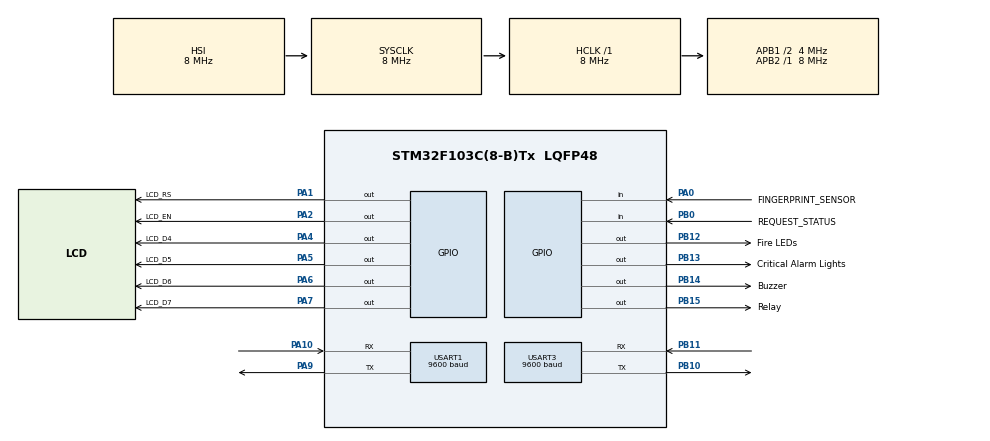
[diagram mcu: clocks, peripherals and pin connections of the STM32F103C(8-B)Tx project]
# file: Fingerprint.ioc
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Mcu.Family=STM32F1
Mcu.Name=STM32F103C(8-B)Tx
Mcu.Package=LQFP48
NVIC.PriorityGroup=NVIC_PRIORITYGROUP_4
NVIC.USART1_IRQn=true\:0\:0\:false\:false\:true\:true\:true\:true
NVIC.USART3_IRQn=true\:0\:0\:false\:false\:true\:true\:true\:true
PA0-WKUP.GPIO_Label=FINGERPRINT_SENSOR
PA0-WKUP.Signal=GPIO_Input
PA1.GPIO_Label=LCD_RS
PA1.Signal=GPIO_Output
PA10.Mode=Asynchronous
PA10.Signal=USART1_RX
PA13.Mode=Serial_Wire
PA13.Signal=SYS_JTMS-SWDIO
PA14.Mode=Serial_Wire
PA14.Signal=SYS_JTCK-SWCLK
PA2.GPIO_Label=LCD_EN
PA2.Signal=GPIO_Output
PA4.GPIO_Label=LCD_D4
PA4.Signal=GPIO_Output
PA5.GPIO_Label=LCD_D5
PA5.Signal=GPIO_Output
PA6.GPIO_Label=LCD_D6
PA6.Signal=GPIO_Output
PA7.GPIO_Label=LCD_D7
PA7.Signal=GPIO_Output
PA9.Mode=Asynchronous
PA9.Signal=USART1_TX
PB0.GPIO_Label=REQUEST_STATUS
PB0.Signal=GPIO_Input
PB10.Mode=Asynchronous
PB10.Signal=USART3_TX
PB11.Mode=Asynchronous
PB11.Signal=USART3_RX
PB12.GPIO_Label=Fire LEDs
PB12.Signal=GPIO_Output
PB13.GPIO_Label=Critical Alarm Lights
PB13.Signal=GPIO_Output
PB14.GPIO_Label=Buzzer
PB14.Signal=GPIO_Output
PB15.GPIO_Label=Relay
PB15.Signal=GPIO_Output
ProjectManager.HeapSize=0x200
ProjectManager.StackSize=0x400
ProjectManager.TargetToolchain=MDK-ARM V5.32
RCC.AHBFreq_Value=8000000
RCC.APB1CLKDivider=RCC_HCLK_DIV2
RCC.APB1Freq_Value=4000000
RCC.APB1TimFreq_Value=8000000
RCC.APB2Freq_Value=8000000
RCC.APB2TimFreq_Value=8000000
RCC.HCLKFreq_Value=8000000
RCC.PLLMUL=RCC_PLL_MUL9
RCC.SYSCLKFreq_VALUE=8000000
RCC.USBFreq_Value=36000000
USART1.BaudRate=9600
USART1.VirtualMode=VM_ASYNC
USART3.BaudRate=9600
USART3.VirtualMode=VM_ASYNC
board=custom

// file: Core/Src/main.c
/* USER CODE BEGIN Header */
/**
  ******************************************************************************
  * @file           : main.c
  * @brief          : Main program body
  ******************************************************************************
  */
/* USER CODE END Header */
#include "main.h"

/* USER CODE BEGIN Includes */
#include <stdio.h>
#include <string.h>
#include <stdlib.h>
/* USER CODE END Includes */

/* USER CODE BEGIN PTD */
typedef enum {
    STATE_MAIN_MENU,
    STATE_WAIT_MAIN_CHOICE,

    STATE_WORKER_LOGIN,
    STATE_WAIT_WORKER_ID,
    STATE_WAIT_SERVER_AUTH,
    STATE_WAIT_WORKER_MENU_ACTION,

    STATE_MANAGER_USER_PROMPT,
    STATE_MANAGER_WAIT_USER,
    STATE_MANAGER_PASS_PROMPT,
    STATE_MANAGER_WAIT_PASS,
    STATE_WAIT_MANAGER_MENU_ACTION,
    STATE_MANAGER_WAIT_ABSENCE_ID,
    STATE_MANAGER_WAIT_FORCE_OUT_ID,

    STATE_WAIT_EMERGENCY_CHOICE,
    STATE_WAIT_MEDICAL_CHOICE,
    STATE_WORKER_WAIT_LETTER_TEXT,
    STATE_MANAGER_WAIT_REPORT_TEXT,
    STATE_MANAGER_WAIT_DEMAND_TEXT,
		STATE_MANAGER_WAIT_INFO_ID,
} SystemState;

SystemState currentState = STATE_MAIN_MENU;

// (UART1)
char term_rx_buffer[100];
uint8_t term_rx_index = 0;
uint8_t term_rx_data;
volatile uint8_t term_input_ready = 0;

// (UART3)
char srv_rx_buffer[100];
uint8_t srv_rx_index = 0;
uint8_t srv_rx_data;
volatile uint8_t srv_input_ready = 0;

const char admin_user[] = "admin";
const char admin_pass[] = "1234";
char entered_user[20];
char entered_pass[20];
char entered_name[30];

void trim_string(char *str) {
    int len = strlen(str);
    while (len > 0 && (str[len-1] == '\r' || str[len-1] == '\n')) {
        str[len-1] = '\0';
        len--;
    }
}
/* USER CODE END PTD */

UART_HandleTypeDef huart1;
UART_HandleTypeDef huart3;

void SystemClock_Config(void);
static void MX_GPIO_Init(void);
static void MX_USART1_UART_Init(void);
static void MX_USART3_UART_Init(void);

/* USER CODE BEGIN 0 */
void LCD_Send4Bit(uint8_t data) {
    HAL_GPIO_WritePin(LCD_D4_GPIO_Port, LCD_D4_Pin, (data & 0x01) ? GPIO_PIN_SET : GPIO_PIN_RESET);
    HAL_GPIO_WritePin(LCD_D5_GPIO_Port, LCD_D5_Pin, (data & 0x02) ? GPIO_PIN_SET : GPIO_PIN_RESET);
    HAL_GPIO_WritePin(LCD_D6_GPIO_Port, LCD_D6_Pin, (data & 0x04) ? GPIO_PIN_SET : GPIO_PIN_RESET);
    HAL_GPIO_WritePin(LCD_D7_GPIO_Port, LCD_D7_Pin, (data & 0x08) ? GPIO_PIN_SET : GPIO_PIN_RESET);
}

void LCD_Enable(void) {
    HAL_GPIO_WritePin(LCD_EN_GPIO_Port, LCD_EN_Pin, GPIO_PIN_SET);
    HAL_Delay(1);
    HAL_GPIO_WritePin(LCD_EN_GPIO_Port, LCD_EN_Pin, GPIO_PIN_RESET);
    HAL_Delay(1);
}

void LCD_Cmd(uint8_t cmd) {
    HAL_GPIO_WritePin(LCD_RS_GPIO_Port, LCD_RS_Pin, GPIO_PIN_RESET);
    LCD_Send4Bit(cmd >> 4);
    LCD_Enable();
    LCD_Send4Bit(cmd & 0x0F);
    LCD_Enable();
}

void LCD_Data(uint8_t data) {
    HAL_GPIO_WritePin(LCD_RS_GPIO_Port, LCD_RS_Pin, GPIO_PIN_SET);
    LCD_Send4Bit(data >> 4);
    LCD_Enable();
    LCD_Send4Bit(data & 0x0F);
    LCD_Enable();
}

void LCD_Init(void) {
    HAL_Delay(50);
    LCD_Cmd(0x33);
    LCD_Cmd(0x32);
    LCD_Cmd(0x28);
    LCD_Cmd(0x0C);
    LCD_Cmd(0x01);
    HAL_Delay(2);
}

void LCD_String(char* str) {
    while (*str) {
        LCD_Data(*str++);
    }
}

void LCD_SetCursor(uint8_t row, uint8_t col) {
    uint8_t pos = (row == 0) ? 0x80 : 0xC0;
    LCD_Cmd(pos + col);
}
/* USER CODE END 0 */

int main(void)
{

  /* MCU Configuration--------------------------------------------------------*/

  /* Reset of all peripherals, Initializes the Flash interface and the Systick. */
  HAL_Init();

  /* Configure the system clock */
  SystemClock_Config();

  /* Initialize all configured peripherals */
  MX_GPIO_Init();
  MX_USART1_UART_Init();
  MX_USART3_UART_Init();
  /* USER CODE BEGIN 2 */
  HAL_UART_Receive_IT(&huart1, &term_rx_data, 1);
  HAL_UART_Receive_IT(&huart3, &srv_rx_data, 1);

  HAL_GPIO_WritePin(GPIOB, GPIO_PIN_15, GPIO_PIN_SET);
  LCD_Init();
  LCD_SetCursor(0, 0);
  LCD_String("  SMART FACTORY  ");
  LCD_SetCursor(1, 0);
  LCD_String(" STATUS: NORMAL  ");
  /* USER CODE END 2 */

  /* Infinite loop */
  while (1)
  {

    /* USER CODE BEGIN 3 */

    if (srv_input_ready) {
            srv_input_ready = 0;
            trim_string(srv_rx_buffer);

            if (srv_rx_buffer[0] == '@') {
                if (strncmp(srv_rx_buffer, "@NAME:", 6) == 0) {
                    strcpy(entered_name, srv_rx_buffer + 6);
                    printf("\r\n========================================");
                    printf("\r\n[ACCESS GRANTED] Welcome: %s", entered_name);
                    printf("\r\n========================================\r\n");
                    printf("--- WORKER MENU ---\r\n");
                    printf("1. Clock In (Check-in)\r\n2. Clock Out (Check-out)\r\n3. Request Leave (Vacation)\r\n4. Send Letter\r\n5. Logout\r\nSelect: ");

                    LCD_Cmd(0x01);
                    LCD_SetCursor(0, 0); LCD_String("Welcome Worker:");
                    LCD_SetCursor(1, 0);
                    char lcd_buf[17];
                    sprintf(lcd_buf, "%-16.16s", entered_name);
                    LCD_String(lcd_buf);
                    currentState = STATE_WAIT_WORKER_MENU_ACTION;
                }
                else if (strncmp(srv_rx_buffer, "@MSG:", 5) == 0) {
                    printf("\r\n[SERVER]: %s\r\n", srv_rx_buffer + 5);
                    if (currentState == STATE_WAIT_SERVER_AUTH) {
                        currentState = STATE_MAIN_MENU;
                    } else if (currentState == STATE_WAIT_WORKER_MENU_ACTION) {
                        printf("\r\nSelect next option (or 5 to logout): ");
                    } else if (currentState == STATE_WAIT_MANAGER_MENU_ACTION) {
                        printf("\r\nSelect next option (or 7 to logout): ");
                    }
                }
								else if (strncmp(srv_rx_buffer, "@PRT:", 5) == 0) {
                    printf("\r\n%s", srv_rx_buffer + 5);
                }
                else if (strncmp(srv_rx_buffer, "@LCD1:", 6) == 0) {
                    LCD_SetCursor(0, 0);
                    char lcd_buf[17];
                    sprintf(lcd_buf, "%-16.16s", srv_rx_buffer + 6);
                    LCD_String(lcd_buf);
                }
                else if (strncmp(srv_rx_buffer, "@LCD2:", 6) == 0) {
                    LCD_SetCursor(1, 0);
                    char lcd_buf[17];
                    sprintf(lcd_buf, "%-16.16s", srv_rx_buffer + 6);
                    LCD_String(lcd_buf);
                }
            }
            srv_rx_index = 0;
        }

        if (term_input_ready) {
            term_input_ready = 0;
            trim_string(term_rx_buffer);
            char tx_buf[50];

            switch (currentState) {
                case STATE_WAIT_MAIN_CHOICE:
                    if (term_rx_buffer[0] == '1') {
                        printf("\r\n\r\n[WORKER LOGIN] Please enter Fingerprint ID: ");
                        LCD_Cmd(0x01); LCD_SetCursor(0,0); LCD_String("Worker Login:"); LCD_SetCursor(1,0); LCD_String("Waiting for ID..");
                        currentState = STATE_WAIT_WORKER_ID;
                    } else if (term_rx_buffer[0] == '2') {
                        printf("\r\n\r\n[MANAGER LOGIN]\r\nUsername: ");
                        LCD_Cmd(0x01); LCD_SetCursor(0,0); LCD_String("Manager Login:"); LCD_SetCursor(1,0); LCD_String("Enter Username..");
                        currentState = STATE_MANAGER_WAIT_USER;
                    } else if (term_rx_buffer[0] == '3') {
                        printf("\r\n\r\n!!! EMERGENCY PROTOCOL !!!\r\n1. Fire\r\n2. Medical\r\n3. Evacuate\r\n4. Cancel\r\nSelect: ");
                        LCD_Cmd(0x01); LCD_SetCursor(0,0); LCD_String("Emergency Menu"); LCD_SetCursor(1,0); LCD_String("Select Type...");
                        currentState = STATE_WAIT_EMERGENCY_CHOICE;
                    } else {
                        printf("\r\nInvalid choice. Try again: ");
                    }
                    break;

                case STATE_WAIT_WORKER_ID:
                    strcpy(entered_user, term_rx_buffer);
                    printf("\r\n[SYSTEM] Verifying ID %s with Server...\r\n", entered_user);
                    LCD_Cmd(0x01); LCD_SetCursor(0,0); LCD_String("Authenticating..");

                    sprintf(tx_buf, "REQ_NAME:%s\r\n", entered_user);
                    HAL_UART_Transmit(&huart3, (uint8_t*)tx_buf, strlen(tx_buf), 100);

                    currentState = STATE_WAIT_SERVER_AUTH;
                    break;

                case STATE_WAIT_WORKER_MENU_ACTION:
                    if (term_rx_buffer[0] == '1') {
                        sprintf(tx_buf, "CHECKIN:%s\r\n", entered_user);
                        HAL_UART_Transmit(&huart3, (uint8_t*)tx_buf, strlen(tx_buf), 100);
                    }
                    else if (term_rx_buffer[0] == '2') {
                        sprintf(tx_buf, "CHECKOUT:%s\r\n", entered_user);
                        HAL_UART_Transmit(&huart3, (uint8_t*)tx_buf, strlen(tx_buf), 100);
                    }
                    else if (term_rx_buffer[0] == '3') {
                        if (HAL_GPIO_ReadPin(GPIOB, GPIO_PIN_0) == GPIO_PIN_SET) {
                            sprintf(tx_buf, "VACATION:%s:APPROVED\r\n", entered_user);
                            HAL_UART_Transmit(&huart3, (uint8_t*)tx_buf, strlen(tx_buf), 100);
                            printf("\r\n[RESULT] Vacation APPROVED by Manager Panel.\r\nSelect next option (or 5 to logout): ");
                        } else {
                            sprintf(tx_buf, "VACATION:%s:REJECTED\r\n", entered_user);
                            HAL_UART_Transmit(&huart3, (uint8_t*)tx_buf, strlen(tx_buf), 100);
                            printf("\r\n[RESULT] Vacation REJECTED by Manager Panel.\r\nSelect next option (or 5 to logout): ");
                        }
                    }
                    else if (term_rx_buffer[0] == '4') {
                        printf("\r\nPlease type your message/letter: ");
                        currentState = STATE_WORKER_WAIT_LETTER_TEXT;
                    }
                    else if (term_rx_buffer[0] == '5') {
                        printf("\r\n[LOGGED OUT] Returning to Main Menu...\r\n");
                        currentState = STATE_MAIN_MENU;
                    } else {
                        printf("\r\nInvalid option.\r\nSelect next option (or 5 to logout): ");
                    }
                    break;

                case STATE_MANAGER_WAIT_USER:
                    strcpy(entered_user, term_rx_buffer);
                    printf("\r\nPassword: ");
                    LCD_SetCursor(1,0); LCD_String("Enter Password..");
                    currentState = STATE_MANAGER_WAIT_PASS;
                    break;

                case STATE_MANAGER_WAIT_PASS:
                    strcpy(entered_pass, term_rx_buffer);
                    if (strcmp(entered_user, admin_user) == 0 && strcmp(entered_pass, admin_pass) == 0) {
                        printf("\r\n========================================");
                        printf("\r\n[ACCESS GRANTED] Welcome Foreman/Manager");
                        printf("\r\n========================================\r\n");
                        printf("--- MANAGER MENU ---\r\n");
                        printf("1. Stop Production Line\r\n2. Report Failure\r\n3. Send Demand/Letter\r\n4. Register Absence\r\n5. Force Worker Checkout\r\n6. View Worker Info\r\n7. Logout\r\nSelect: ");

                        LCD_Cmd(0x01); LCD_SetCursor(0,0); LCD_String("Manager Panel"); LCD_SetCursor(1,0); LCD_String("Access Granted!");
                        currentState = STATE_WAIT_MANAGER_MENU_ACTION;
                    } else {
                        printf("\r\n[ACCESS DENIED] Incorrect Username or Password.\r\n");
                        LCD_Cmd(0x01); LCD_SetCursor(0,0); LCD_String("Access Denied!");
                        currentState = STATE_MAIN_MENU;
                    }
                    break;

                case STATE_WAIT_MANAGER_MENU_ACTION:
                    if (term_rx_buffer[0] == '1') {
                        sprintf(tx_buf, "MANAGER:STOP_LINE\r\n");
                        HAL_UART_Transmit(&huart3, (uint8_t*)tx_buf, strlen(tx_buf), 100);
                        printf("\r\n[ALARM] Production Line STOPPED command sent!\r\nSelect next option (or 7 to logout): ");
                    }
                    else if (term_rx_buffer[0] == '2') {
                        printf("\r\nEnter failure details: ");
                        currentState = STATE_MANAGER_WAIT_REPORT_TEXT;
                    }
                    else if (term_rx_buffer[0] == '3') {
                        printf("\r\nEnter demand/task details: ");
                        currentState = STATE_MANAGER_WAIT_DEMAND_TEXT;
                    }
                    else if (term_rx_buffer[0] == '4') {
                        printf("\r\nEnter Worker ID to mark as Absent (e.g. 1001): ");
                        currentState = STATE_MANAGER_WAIT_ABSENCE_ID;
                    }
                    else if (term_rx_buffer[0] == '5') {
                        printf("\r\nEnter Worker ID to Force Checkout (e.g. 1001): ");
                        LCD_Cmd(0x01); LCD_SetCursor(0,0); LCD_String("Force Checkout:"); LCD_SetCursor(1,0); LCD_String("Enter ID:       ");
                        currentState = STATE_MANAGER_WAIT_FORCE_OUT_ID;
                    }
                    else if (term_rx_buffer[0] == '6') {
                        printf("\r\nEnter Worker ID to view info (e.g. 1001): ");
                        LCD_Cmd(0x01); LCD_SetCursor(0,0); LCD_String("Worker Info:"); LCD_SetCursor(1,0); LCD_String("Enter ID:       ");
                        currentState = STATE_MANAGER_WAIT_INFO_ID;
                    }
                    else if (term_rx_buffer[0] == '7') {
                        printf("\r\n[LOGGED OUT] Returning to Main Menu...\r\n");
                        currentState = STATE_MAIN_MENU;
                    }
                    else {
                        printf("\r\nInvalid option.\r\nSelect next option (or 7 to logout): ");
                    }
                    break;

                case STATE_MANAGER_WAIT_FORCE_OUT_ID:
                    sprintf(tx_buf, "FORCE_OUT:%s\r\n", term_rx_buffer);
                    HAL_UART_Transmit(&huart3, (uint8_t*)tx_buf, strlen(tx_buf), 100);
                    currentState = STATE_WAIT_MANAGER_MENU_ACTION;
                    break;

                case STATE_WORKER_WAIT_LETTER_TEXT:
                    sprintf(tx_buf, "LETTER:%s:%s\r\n", entered_user, term_rx_buffer);
                    HAL_UART_Transmit(&huart3, (uint8_t*)tx_buf, strlen(tx_buf), 100);
                    printf("\r\n[RESULT] Your letter was sent to the server.\r\nSelect next option (or 5 to logout): ");
                    currentState = STATE_WAIT_WORKER_MENU_ACTION;
                    break;

                case STATE_MANAGER_WAIT_REPORT_TEXT:
                    sprintf(tx_buf, "MANAGER:REPORT_FAIL:%s\r\n", term_rx_buffer);
                    HAL_UART_Transmit(&huart3, (uint8_t*)tx_buf, strlen(tx_buf), 100);
                    printf("\r\n[SYSTEM] Failure report sent to database.\r\nSelect next option (or 7 to logout): ");
                    currentState = STATE_WAIT_MANAGER_MENU_ACTION;
                    break;

                case STATE_MANAGER_WAIT_DEMAND_TEXT:
                    sprintf(tx_buf, "MANAGER:DEMAND:%s\r\n", term_rx_buffer);
                    HAL_UART_Transmit(&huart3, (uint8_t*)tx_buf, strlen(tx_buf), 100);
                    printf("\r\n[SYSTEM] Demand letter sent to database.\r\nSelect next option (or 7 to logout): ");
                    currentState = STATE_WAIT_MANAGER_MENU_ACTION;
                    break;

                case STATE_MANAGER_WAIT_ABSENCE_ID:
                    sprintf(tx_buf, "ABSENCE:%s\r\n", term_rx_buffer);
                    HAL_UART_Transmit(&huart3, (uint8_t*)tx_buf, strlen(tx_buf), 100);
                    printf("\r\n[SYSTEM] Absence record sent for ID: %s\r\nSelect next option (or 7 to logout): ", term_rx_buffer);
                    currentState = STATE_WAIT_MANAGER_MENU_ACTION;
                    break;

                case STATE_MANAGER_WAIT_INFO_ID:
                    sprintf(tx_buf, "MANAGER:INFO:%s\r\n", term_rx_buffer);
                    HAL_UART_Transmit(&huart3, (uint8_t*)tx_buf, strlen(tx_buf), 100);
										printf("\r\n[SYSTEM] Fetching data from server...\r\n");
                    currentState = STATE_WAIT_MANAGER_MENU_ACTION;
                    break;
								case STATE_WAIT_EMERGENCY_CHOICE:
                    if (term_rx_buffer[0] == '1') {
                        printf("\r\nEMERGENCY:FIRE\r\n");
                        printf("\r\n[ALARM] Fire Alarm triggered! Strobe Lights & Buzzer Activated.\r\n");
                        HAL_GPIO_WritePin(GPIOB, GPIO_PIN_12, GPIO_PIN_SET);
                        HAL_GPIO_WritePin(GPIOB, GPIO_PIN_14, GPIO_PIN_SET);
                        printf("\r\nReturning to Main Menu...\r\n");
                        currentState = STATE_MAIN_MENU;
                    }
                    else if (term_rx_buffer[0] == '2') {
                        printf("\r\n\r\n--- MEDICAL EMERGENCY SUBMENU ---\r\n");
                        printf("1. Machinery Accident / Injury\r\n");
                        printf("2. Chemical / Toxic Exposure\r\n");
                        printf("3. Back to Main Menu\r\n");
                        printf("Select Medical Type: ");
                        currentState = STATE_WAIT_MEDICAL_CHOICE;
                    }
                    else if (term_rx_buffer[0] == '3') {
                        printf("\r\nEMERGENCY:CRITICAL_EVACUATE\r\n");
                        printf("\r\n!!!!!!!!!!!!!!!!!!!!!!!!!!!!!!!!!!!!!!!!\r\n");
                        printf("!! CRITICAL SITUATION: EVACUATE IMMEDIATELY !!\r\n");
                        printf("!!!!!!!!!!!!!!!!!!!!!!!!!!!!!!!!!!!!!!!!\r\n");

                        HAL_GPIO_WritePin(GPIOB, GPIO_PIN_15, GPIO_PIN_RESET);
                        HAL_GPIO_WritePin(GPIOB, GPIO_PIN_13, GPIO_PIN_SET);
                        HAL_GPIO_WritePin(GPIOB, GPIO_PIN_14, GPIO_PIN_SET);

                        LCD_Cmd(0x01);
                        LCD_SetCursor(0, 0); LCD_String("!!! EMERGENCY !!!");
                        LCD_SetCursor(1, 0); LCD_String("EVACUATE FACTORY!");
                        printf("\r\nReturning to Main Menu...\r\n");
                        currentState = STATE_MAIN_MENU;
                    }
                    else if (term_rx_buffer[0] == '4') {
                        printf("\r\nReturning to Main Menu...\r\n");
                        currentState = STATE_MAIN_MENU;
                    }
                    else {
                        printf("\r\nInvalid emergency type.\r\nSelect: ");
                    }
                    break;

                case STATE_WAIT_MEDICAL_CHOICE:
                    if (term_rx_buffer[0] == '1') {
                        printf("\r\nEMERGENCY:MEDICAL_MACHINERY\r\n");
                        printf("\r\n[NOTIFICATION] First Aid Team dispatched for Machinery Accident.\r\n");
                    }
                    else if (term_rx_buffer[0] == '2') {
                        printf("\r\nEMERGENCY:MEDICAL_CHEMICAL\r\n");
                        printf("\r\n[NOTIFICATION] Chemical Exposure protocol activated. Hazmat team notified.\r\n");
                    }
                    else {
                        printf("\r\nReturning without dispatch.\r\n");
                    }
                    currentState = STATE_MAIN_MENU;
                    break;
            }
            term_rx_index = 0;
        }

        if (currentState == STATE_MAIN_MENU) {
            LCD_Cmd(0x01);
            LCD_SetCursor(0, 0); LCD_String("  SMART FACTORY  ");
            LCD_SetCursor(1, 0); LCD_String(" STATUS: NORMAL  ");

            printf("\r\n\r\n=== SMART FACTORY CENTRAL TERMINAL ===\r\n");
            printf("1. Worker Login (Fingerprint ID)\r\n");
            printf("2. Foreman/Manager Login (Credentials)\r\n");
            printf("3. EMERGENCY (SOS)\r\n");
            printf("Select an option (1, 2, or 3): ");
            currentState = STATE_WAIT_MAIN_CHOICE;
        }

        HAL_Delay(50);
	}
  /* USER CODE END 3 */
}

void SystemClock_Config(void)
{
  RCC_OscInitTypeDef RCC_OscInitStruct = {0};
  RCC_ClkInitTypeDef RCC_ClkInitStruct = {0};

  /** Initializes the RCC Oscillators according to the specified parameters
  * in the RCC_OscInitTypeDef structure.
  */
  RCC_OscInitStruct.OscillatorType = RCC_OSCILLATORTYPE_HSI;
  RCC_OscInitStruct.HSIState = RCC_HSI_ON;
  RCC_OscInitStruct.HSICalibrationValue = RCC_HSICALIBRATION_DEFAULT;
  RCC_OscInitStruct.PLL.PLLState = RCC_PLL_NONE;
  if (HAL_RCC_OscConfig(&RCC_OscInitStruct) != HAL_OK)
  {
    Error_Handler();
  }

  /** Initializes the CPU, AHB and APB buses clocks
  */
  RCC_ClkInitStruct.ClockType = RCC_CLOCKTYPE_HCLK|RCC_CLOCKTYPE_SYSCLK
                              |RCC_CLOCKTYPE_PCLK1|RCC_CLOCKTYPE_PCLK2;
  RCC_ClkInitStruct.SYSCLKSource = RCC_SYSCLKSOURCE_HSI;
  RCC_ClkInitStruct.AHBCLKDivider = RCC_SYSCLK_DIV1;
  RCC_ClkInitStruct.APB1CLKDivider = RCC_HCLK_DIV2;
  RCC_ClkInitStruct.APB2CLKDivider = RCC_HCLK_DIV1;

  if (HAL_RCC_ClockConfig(&RCC_ClkInitStruct, FLASH_LATENCY_0) != HAL_OK)
  {
    Error_Handler();
  }
}

static void MX_USART1_UART_Init(void)
{

  huart1.Instance = USART1;
  huart1.Init.BaudRate = 9600;
  huart1.Init.WordLength = UART_WORDLENGTH_8B;
  huart1.Init.StopBits = UART_STOPBITS_1;
  huart1.Init.Parity = UART_PARITY_NONE;
  huart1.Init.Mode = UART_MODE_TX_RX;
  huart1.Init.HwFlowCtl = UART_HWCONTROL_NONE;
  huart1.Init.OverSampling = UART_OVERSAMPLING_16;
  if (HAL_UART_Init(&huart1) != HAL_OK)
  {
    Error_Handler();
  }

}

static void MX_USART3_UART_Init(void)
{

  huart3.Instance = USART3;
  huart3.Init.BaudRate = 9600;
  huart3.Init.WordLength = UART_WORDLENGTH_8B;
  huart3.Init.StopBits = UART_STOPBITS_1;
  huart3.Init.Parity = UART_PARITY_NONE;
  huart3.Init.Mode = UART_MODE_TX_RX;
  huart3.Init.HwFlowCtl = UART_HWCONTROL_NONE;
  huart3.Init.OverSampling = UART_OVERSAMPLING_16;
  if (HAL_UART_Init(&huart3) != HAL_OK)
  {
    Error_Handler();
  }

}

static void MX_GPIO_Init(void)
{
  GPIO_InitTypeDef GPIO_InitStruct = {0};

  /* GPIO Ports Clock Enable */
  __HAL_RCC_GPIOA_CLK_ENABLE();
  __HAL_RCC_GPIOB_CLK_ENABLE();

  /*Configure GPIO pin Output Level */
  HAL_GPIO_WritePin(GPIOA, LCD_RS_Pin|LCD_EN_Pin|LCD_D4_Pin|LCD_D5_Pin
                          |LCD_D6_Pin|LCD_D7_Pin, GPIO_PIN_RESET);

  /*Configure GPIO pin Output Level */
  HAL_GPIO_WritePin(GPIOB, Fire_LEDs_Pin|Critical_Alarm_Lights_Pin|Buzzer_Pin|Relay_Pin, GPIO_PIN_RESET);

  /*Configure GPIO pin : FINGERPRINT_SENSOR_Pin */
  GPIO_InitStruct.Pin = FINGERPRINT_SENSOR_Pin;
  GPIO_InitStruct.Mode = GPIO_MODE_INPUT;
  GPIO_InitStruct.Pull = GPIO_NOPULL;
  HAL_GPIO_Init(FINGERPRINT_SENSOR_GPIO_Port, &GPIO_InitStruct);

  /*Configure GPIO pins : LCD_RS_Pin LCD_EN_Pin LCD_D4_Pin LCD_D5_Pin
                           LCD_D6_Pin LCD_D7_Pin */
  GPIO_InitStruct.Pin = LCD_RS_Pin|LCD_EN_Pin|LCD_D4_Pin|LCD_D5_Pin
                          |LCD_D6_Pin|LCD_D7_Pin;
  GPIO_InitStruct.Mode = GPIO_MODE_OUTPUT_PP;
  GPIO_InitStruct.Pull = GPIO_NOPULL;
  GPIO_InitStruct.Speed = GPIO_SPEED_FREQ_LOW;
  HAL_GPIO_Init(GPIOA, &GPIO_InitStruct);

  /*Configure GPIO pin : REQUEST_STATUS_Pin */
  GPIO_InitStruct.Pin = REQUEST_STATUS_Pin;
  GPIO_InitStruct.Mode = GPIO_MODE_INPUT;
  GPIO_InitStruct.Pull = GPIO_NOPULL;
  HAL_GPIO_Init(REQUEST_STATUS_GPIO_Port, &GPIO_InitStruct);

  /*Configure GPIO pins : Fire_LEDs_Pin Critical_Alarm_Lights_Pin Buzzer_Pin Relay_Pin */
  GPIO_InitStruct.Pin = Fire_LEDs_Pin|Critical_Alarm_Lights_Pin|Buzzer_Pin|Relay_Pin;
  GPIO_InitStruct.Mode = GPIO_MODE_OUTPUT_PP;
  GPIO_InitStruct.Pull = GPIO_NOPULL;
  GPIO_InitStruct.Speed = GPIO_SPEED_FREQ_LOW;
  HAL_GPIO_Init(GPIOB, &GPIO_InitStruct);

}

/* USER CODE BEGIN 4 */
int fputc(int ch, FILE *f) {
    HAL_UART_Transmit(&huart1, (uint8_t *)&ch, 1, 0xFFFF);
    return ch;
}

void HAL_UART_RxCpltCallback(UART_HandleTypeDef *huart) {
    if (huart->Instance == USART1) {
        if (term_rx_data == '\r' || term_rx_data == '\n') {
            if (term_rx_index > 0) {
                term_rx_buffer[term_rx_index] = '\0';
                term_input_ready = 1;
            }

            uint8_t nl[] = {'\r', '\n'};
            HAL_UART_Transmit(&huart1, nl, 2, 10);
        }

        else if (term_rx_data == '\b' || term_rx_data == 0x08 || term_rx_data == 0x7F) {
            if (term_rx_index > 0) {
                term_rx_index--;
                uint8_t back_seq[] = {'\b', ' ', '\b'};
                HAL_UART_Transmit(&huart1, back_seq, 3, 10);
            }
        }
        else {
            if (term_rx_index < sizeof(term_rx_buffer) - 1) {
                term_rx_buffer[term_rx_index++] = term_rx_data;
                HAL_UART_Transmit(&huart1, &term_rx_data, 1, 10);
            }
        }
        HAL_UART_Receive_IT(&huart1, &term_rx_data, 1);
    }

    else if (huart->Instance == USART3) {
        if (srv_rx_data == '\r' || srv_rx_data == '\n') {
            if (srv_rx_index > 0) {
                srv_rx_buffer[srv_rx_index] = '\0';
                srv_input_ready = 1;
            }
        }
        else {

            if (srv_input_ready == 0) {
                if (srv_rx_index < sizeof(srv_rx_buffer) - 1) {
                    srv_rx_buffer[srv_rx_index++] = srv_rx_data;
                }
            }
        }
        HAL_UART_Receive_IT(&huart3, &srv_rx_data, 1);
    }
}
void HAL_UART_ErrorCallback(UART_HandleTypeDef *huart) {

    if (huart->Instance == USART1) {

        __HAL_UART_CLEAR_OREFLAG(huart);

        HAL_UART_Receive_IT(&huart1, &term_rx_data, 1);
    }
    else if (huart->Instance == USART3) {
        __HAL_UART_CLEAR_OREFLAG(huart);

        HAL_UART_Receive_IT(&huart3, &srv_rx_data, 1);
    }
}
/* USER CODE END 4 */

void Error_Handler(void)
{
  __disable_irq();
  while (1)
  {
  }
}
